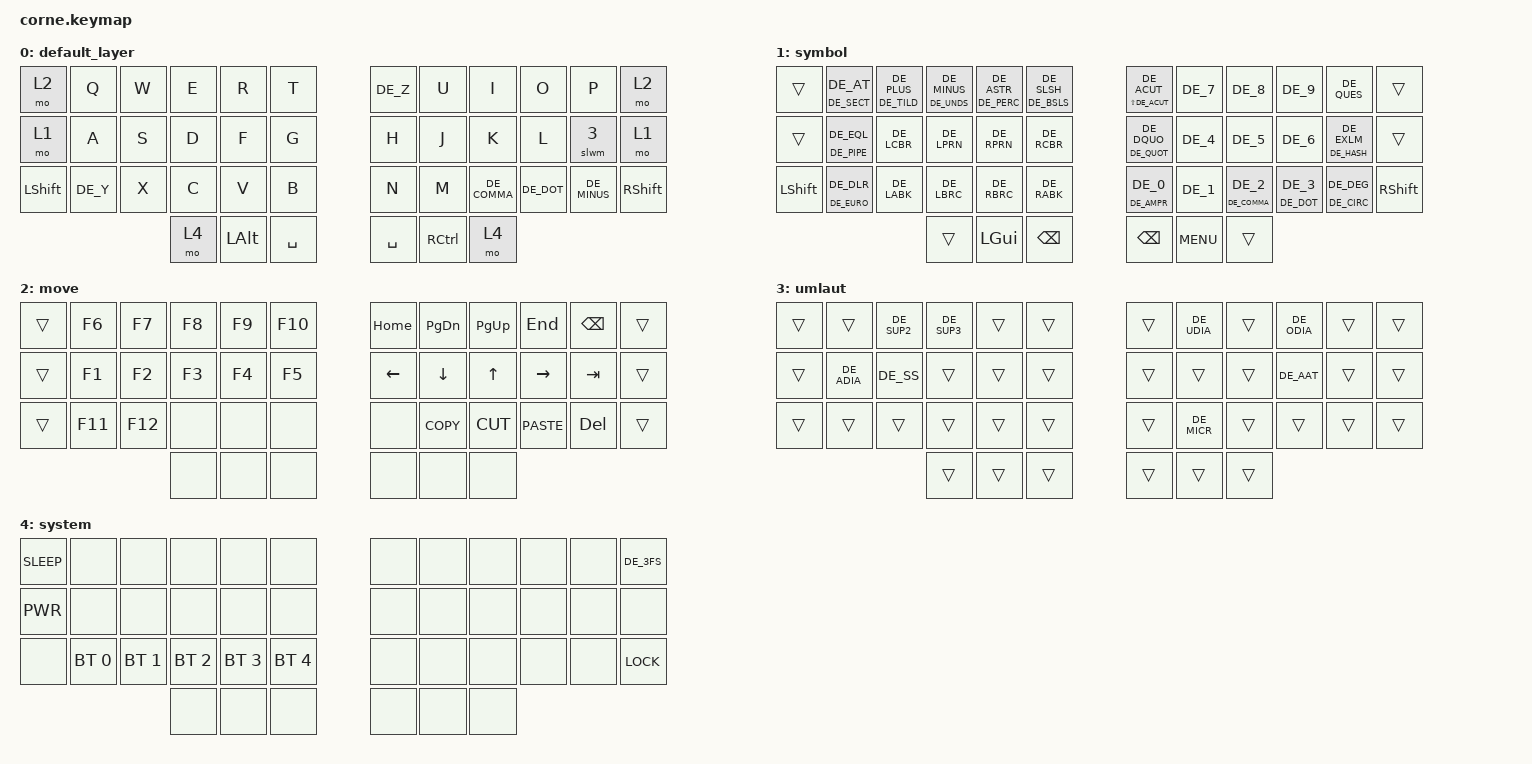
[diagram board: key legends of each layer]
/*
 * Copyright (c) 2020 The ZMK Contributors
 *
 * SPDX-License-Identifier: MIT
 */

#include <behaviors.dtsi>
#include <dt-bindings/zmk/bt.h>
#include <dt-bindings/zmk/keys.h>
#include "keys_de.h"

/*
 * Combos for ESC, Backspace, TAB and ENTER
 */

/ {
    combos {
        compatible = "zmk,combos";
        combo_esc {
            timeout-ms = <50>;
            key-positions = <2 3>;
            layers = <0 1 3>;
            bindings = <&kp ESC>;
        };
        combo_bksp {
            timeout-ms = <50>;
            key-positions = <8 9>;
            layers = <0 1 3>;
            bindings = <&kp BSPC>;
        };
        combo_tab {
            timeout-ms = <50>;
            key-positions = <26 27>;
            layers = <0 1 3>;
            bindings = <&kp TAB>;
        };
        combo_enter {
            timeout-ms = <50>;
            key-positions = <32 33>;
            layers = <0 1 3>;
            bindings = <&kp ENTER>;
        };
        combo_btclr {
            timeout-ms = <50>;
            key-positions = <0 12 24>;
            layers = <4>;
            bindings = <&bt BT_CLR>;
        };
        combo_cword {
            timeout-ms = <50>;
            key-positions = <24 35>;
            layers = <0>;
            bindings = <&caps_word>;
        };
    };
};

/ {
    behaviors {
      slwm: sticky_layer_with_modifiers {
        compatible = "zmk,behavior-sticky-key";
        #binding-cells = <1>;
        bindings = <&mo>;
        release-after-ms = <1000>;
        ignore-modifiers;
        quick-release;
      };
    };

    keymap {
        compatible = "zmk,keymap";

        default_layer {
            // ---------------------------------------------------------------------------------
            // | MO2  |  Q  |  W  |  E  |  R   |  T  |   |  Y  |  U   |  I  |  O  |  P  | MO2  |
            // | MO1  |  A  |  S  |  D  |  F   |  G  |   |  H  |  J   |  K  |  L  | SL3 | MO1  |
            // | SHFT |  Z  |  X  |  C  |  V   |  B  |   |  N  |  M   |  ,  |  .  |  -  | SHFT |
            //                    | NA  | LALT | SPC |   | SPC | RCTL | NA  |

            bindings = <
&mo 2      &kp Q     &kp W  &kp E  &kp R         &kp T        &kp DE_Z   &kp U      &kp I         &kp O       &kp P         &mo 2
&mo 1      &kp A     &kp S  &kp D  &kp F         &kp G        &kp H      &kp J      &kp K         &kp L       &slwm 3       &mo 1
&kp LSHFT  &kp DE_Y  &kp X  &kp C  &kp V         &kp B        &kp N      &kp M      &kp DE_COMMA  &kp DE_DOT  &kp DE_MINUS  &kp RSHFT
                            &mo 4  &kp LALT      &kp SPACE    &kp SPACE  &kp RCTRL  &mo 4
            >;
        };

        symbol {
            // -----------------------------------------------------------------------------------------------------
            // | tran      | @ §    | + ~  | - _  | * %  | / \  |   | ` ´  |  7     |  8    |  9    |   ? | tran      |
            // | tran      | = "|"  |  {   |  (   |  )   |  }   |   | " '  |  4     |  5    |  6    | ! # | tran      |
            // | caps_word | $ €    |  <   |  [   |  ]   |  >   |   | 0 &  |  1     |  2 ,  |  3 .  | ° ^ | caps_word |
            //                             | tran | GUI  | BSPC |   | BSPC | K_MENU | tran |

            bindings = <
&trans      &mt DE_SECT DE_AT   &mt DE_TILD DE_PLUS  &mt DE_UNDS DE_MINUS  &mt DE_PERC DE_ASTR  &mt DE_BSLS DE_SLSH      &mt LS(DE_ACUT) DE_ACUT  &kp DE_7    &kp DE_8           &kp DE_9          &kp DE_QUES          &trans
&trans      &mt DE_PIPE DE_EQL  &kp DE_LCBR          &kp DE_LPRN           &kp DE_RPRN          &kp DE_RCBR              &mt DE_QUOT DE_DQUO      &kp DE_4    &kp DE_5           &kp DE_6          &mt DE_HASH DE_EXLM  &trans
&kp LSHFT   &mt DE_EURO DE_DLR  &kp DE_LABK          &kp DE_LBRC           &kp DE_RBRC          &kp DE_RABK              &mt DE_AMPR DE_0         &kp DE_1    &mt DE_COMMA DE_2  &mt DE_DOT DE_3   &mt DE_CIRC DE_DEG   &kp RSHFT
                                                     &trans                &kp LGUI             &kp BSPC                 &kp BSPC                 &kp K_MENU  &trans
            >;
        };

        move {
            // -------------------------------------------------------------------------------------------
            // | tran | F6  | F7  | F8  | F9  | F10 |   | HOME | PG_DN  | PG_UP  | END     | BKSP | tran |
            // | tran | F1  | F2  | F3  | F4  | F5  |   | LEFT | DOWN   | UP     | RIGHT   | TAB  | tran |
            // | tran | F11 | F12 | NA  | NA  | NA  |   | NA   | K_COPY | K_CUT  | K_PASTE | DEL  | tran |
            //                    | NA |  NA  | NA  |   | NA   |  NA    | NA     |

            bindings = <
&trans     &kp F6    &kp F7  &kp F8    &kp F9    &kp F10      &kp HOME  &kp PG_DN   &kp PG_UP  &kp END      &kp BKSP  &trans
&trans     &kp F1    &kp F2  &kp F3    &kp F4    &kp F5       &kp LEFT  &kp DOWN    &kp UP     &kp RIGHT    &kp TAB   &trans
&trans     &kp F11   &kp F12 &none     &none     &none        &none     &kp K_COPY  &kp K_CUT  &kp K_PASTE  &kp DEL   &trans
                             &none     &none     &none        &none     &none       &none
            >;
        };

        umlaut {
            // -----------------------------------------------------------------------------------------
            // | tran | tran | ²    | ²    | tran | tran |   | Ü    | tran | Ö    | tran | tran | tran |
            // | tran | Ä    | ß    | tran | tran | tran |   | tran | tran | tran | tran | tran | tran |
            // | tran | tran | tran | tran | tran | tran |   | tran | µ    | tran | tran | tran | tran |
            //                      | tran | tran | tran |   | tran | tran | tran |

            bindings = <
&trans  &trans       &kp DE_SUP2  &kp DE_SUP3  &trans  &trans    &trans       &kp DE_UDIA  &trans  &kp DE_ODIA  &trans  &trans
&trans  &kp DE_ADIA  &kp DE_SS    &trans       &trans  &trans    &trans       &trans       &trans  &kp DE_AAT   &trans  &trans
&trans  &trans       &trans       &trans       &trans  &trans    &trans       &kp DE_MICR  &trans  &trans       &trans  &trans
                                  &trans       &trans  &trans    &trans       &trans       &trans
            >;
        };
        
        system {
            // --------------------------------------------------------------------------------------------------------
            // | K_SLEEP | NA       | NA       | NA       | NA       | NA       |   | NA | NA | NA | NA | NA | DE_3FS |
            // | K_PWR   | NA       | NA       | NA       | NA       | NA       |   | NA | NA | NA | NA | NA | NA     |
            // | NA      | BT_SEL 0 | BT_SEL 1 | BT_SEL 2 | BT_SEL 3 | BT_SEL 4 |   | NA | NA | NA | NA | NA | K_LOCK |
            //                                 | NA       | NA       | NA       |   | NA | NA | NA |

            bindings = <
&kp K_SLEEP  &none         &none         &none         &none          &none            &none  &none  &none  &none  &none  &kp DE_3FS
&kp K_PWR    &none         &none         &none         &none          &none            &none  &none  &none  &none  &none  &none
&none        &bt BT_SEL 0  &bt BT_SEL 1  &bt BT_SEL 2  &bt BT_SEL 3   &bt BT_SEL 4     &none  &none  &none  &none  &none  &kp K_LOCK
                                         &none         &none          &none            &none  &none  &none
            >;
        };
    };
};
